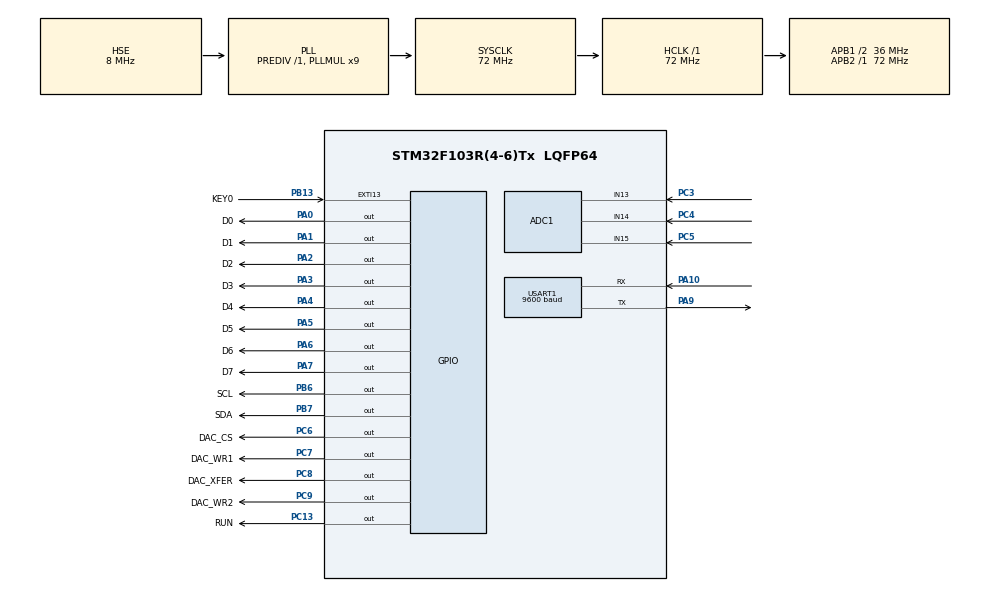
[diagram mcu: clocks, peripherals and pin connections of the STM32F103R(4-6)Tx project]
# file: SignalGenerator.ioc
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ADC1.Channel-10\#ChannelRegularConversion=ADC_CHANNEL_15
ADC1.Channel-8\#ChannelRegularConversion=ADC_CHANNEL_13
ADC1.Channel-9\#ChannelRegularConversion=ADC_CHANNEL_14
ADC1.ContinuousConvMode=ENABLE
ADC1.NbrOfConversion=3
ADC1.NbrOfConversionFlag=1
ADC1.Rank-10\#ChannelRegularConversion=3
ADC1.Rank-8\#ChannelRegularConversion=1
ADC1.Rank-9\#ChannelRegularConversion=2
ADC1.SamplingTime-10\#ChannelRegularConversion=ADC_SAMPLETIME_1CYCLE_5
ADC1.SamplingTime-8\#ChannelRegularConversion=ADC_SAMPLETIME_1CYCLE_5
ADC1.SamplingTime-9\#ChannelRegularConversion=ADC_SAMPLETIME_1CYCLE_5
ADC1.master=1
Dma.ADC1.0.Direction=DMA_PERIPH_TO_MEMORY
Dma.ADC1.0.Instance=DMA1_Channel1
Dma.ADC1.0.MemDataAlignment=DMA_MDATAALIGN_HALFWORD
Dma.ADC1.0.MemInc=DMA_MINC_ENABLE
Dma.ADC1.0.Mode=DMA_CIRCULAR
Dma.ADC1.0.PeriphDataAlignment=DMA_PDATAALIGN_HALFWORD
Dma.ADC1.0.PeriphInc=DMA_PINC_DISABLE
Dma.ADC1.0.Priority=DMA_PRIORITY_LOW
Dma.Request0=ADC1
Mcu.Family=STM32F1
Mcu.Name=STM32F103R(4-6)Tx
Mcu.Package=LQFP64
NVIC.DMA1_Channel1_IRQn=true\:0\:0\:false\:false\:true\:false\:true
NVIC.EXTI15_10_IRQn=true\:1\:0\:true\:false\:true\:true\:true
NVIC.PriorityGroup=NVIC_PRIORITYGROUP_4
NVIC.TIM2_IRQn=true\:3\:0\:true\:false\:true\:true\:true
NVIC.TIM3_IRQn=true\:3\:0\:true\:false\:true\:true\:true
PA0-WKUP.GPIO_Label=D0
PA0-WKUP.GPIO_PuPd=GPIO_PULLUP
PA0-WKUP.GPIO_Speed=GPIO_SPEED_FREQ_HIGH
PA0-WKUP.Signal=GPIO_Output
PA1.GPIO_Label=D1
PA1.GPIO_PuPd=GPIO_PULLUP
PA1.GPIO_Speed=GPIO_SPEED_FREQ_HIGH
PA1.Signal=GPIO_Output
PA10.Mode=Asynchronous
PA10.Signal=USART1_RX
PA13.Mode=Serial_Wire
PA13.Signal=SYS_JTMS-SWDIO
PA14.Mode=Serial_Wire
PA14.Signal=SYS_JTCK-SWCLK
PA2.GPIO_Label=D2
PA2.GPIO_PuPd=GPIO_PULLUP
PA2.GPIO_Speed=GPIO_SPEED_FREQ_HIGH
PA2.Signal=GPIO_Output
PA3.GPIO_Label=D3
PA3.GPIO_PuPd=GPIO_PULLUP
PA3.GPIO_Speed=GPIO_SPEED_FREQ_HIGH
PA3.Signal=GPIO_Output
PA4.GPIO_Label=D4
PA4.GPIO_PuPd=GPIO_PULLUP
PA4.GPIO_Speed=GPIO_SPEED_FREQ_HIGH
PA4.Signal=GPIO_Output
PA5.GPIO_Label=D5
PA5.GPIO_PuPd=GPIO_PULLUP
PA5.GPIO_Speed=GPIO_SPEED_FREQ_HIGH
PA5.Signal=GPIO_Output
PA6.GPIO_Label=D6
PA6.GPIO_PuPd=GPIO_PULLUP
PA6.GPIO_Speed=GPIO_SPEED_FREQ_HIGH
PA6.Signal=GPIO_Output
PA7.GPIO_Label=D7
PA7.GPIO_PuPd=GPIO_PULLUP
PA7.GPIO_Speed=GPIO_SPEED_FREQ_HIGH
PA7.Signal=GPIO_Output
PA9.Mode=Asynchronous
PA9.Signal=USART1_TX
PB13.GPIO_Label=KEY0
PB13.GPIO_ModeDefaultEXTI=GPIO_MODE_IT_FALLING
PB13.GPIO_PuPd=GPIO_PULLUP
PB13.Signal=GPXTI13
PB6.GPIO_Label=SCL
PB6.GPIO_PuPd=GPIO_PULLUP
PB6.GPIO_Speed=GPIO_SPEED_FREQ_HIGH
PB6.Signal=GPIO_Output
PB7.GPIO_Label=SDA
PB7.GPIO_PuPd=GPIO_PULLUP
PB7.GPIO_Speed=GPIO_SPEED_FREQ_HIGH
PB7.Signal=GPIO_Output
PC13-TAMPER-RTC.GPIO_Label=RUN
PC13-TAMPER-RTC.GPIO_PuPd=GPIO_PULLUP
PC13-TAMPER-RTC.GPIO_Speed=GPIO_SPEED_FREQ_HIGH
PC13-TAMPER-RTC.Signal=GPIO_Output
PC3.Signal=ADCx_IN13
PC4.Signal=ADCx_IN14
PC5.Signal=ADCx_IN15
PC6.GPIO_Label=DAC_CS
PC6.GPIO_PuPd=GPIO_PULLUP
PC6.GPIO_Speed=GPIO_SPEED_FREQ_HIGH
PC6.Signal=GPIO_Output
PC7.GPIO_Label=DAC_WR1
PC7.GPIO_PuPd=GPIO_PULLUP
PC7.GPIO_Speed=GPIO_SPEED_FREQ_HIGH
PC7.Signal=GPIO_Output
PC8.GPIO_Label=DAC_XFER
PC8.GPIO_PuPd=GPIO_PULLUP
PC8.GPIO_Speed=GPIO_SPEED_FREQ_HIGH
PC8.Signal=GPIO_Output
PC9.GPIO_Label=DAC_WR2
PC9.GPIO_PuPd=GPIO_PULLUP
PC9.GPIO_Speed=GPIO_SPEED_FREQ_HIGH
PC9.Signal=GPIO_Output
PD0-OSC_IN.Mode=HSE-External-Oscillator
PD0-OSC_IN.Signal=RCC_OSC_IN
PD1-OSC_OUT.Mode=HSE-External-Oscillator
PD1-OSC_OUT.Signal=RCC_OSC_OUT
ProjectManager.HeapSize=0x200
ProjectManager.StackSize=0x400
ProjectManager.TargetToolchain=MDK-ARM V5.27
RCC.ADCPresc=RCC_ADCPCLK2_DIV6
RCC.AHBFreq_Value=72000000
RCC.APB1CLKDivider=RCC_HCLK_DIV2
RCC.APB1Freq_Value=36000000
RCC.APB1TimFreq_Value=72000000
RCC.APB2Freq_Value=72000000
RCC.APB2TimFreq_Value=72000000
RCC.HCLKFreq_Value=72000000
RCC.PLLMUL=RCC_PLL_MUL9
RCC.PLLSourceVirtual=RCC_PLLSOURCE_HSE
RCC.SYSCLKFreq_VALUE=72000000
RCC.SYSCLKSource=RCC_SYSCLKSOURCE_PLLCLK
RCC.USBFreq_Value=72000000
SH.ADCx_IN13.0=ADC1_IN13,IN13
SH.ADCx_IN14.0=ADC1_IN14,IN14
SH.ADCx_IN15.0=ADC1_IN15,IN15
TIM2.AutoReloadPreload=TIM_AUTORELOAD_PRELOAD_ENABLE
TIM2.Period=9999
TIM2.Prescaler=71
TIM2.TIM_MasterOutputTrigger=TIM_TRGO_RESET
TIM3.AutoReloadPreload=TIM_AUTORELOAD_PRELOAD_ENABLE
TIM3.Period=9999
TIM3.Prescaler=71
USART1.BaudRate=9600
USART1.VirtualMode=VM_ASYNC
VP_TIM2_VS_ClockSourceINT.Mode=Internal
VP_TIM3_VS_ClockSourceINT.Mode=Internal
board=custom

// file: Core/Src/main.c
/* USER CODE BEGIN Header */
/**
  ******************************************************************************
  * @file           : main.c
  * @brief          : Main program body
  ******************************************************************************
  * @attention
  *
  * <h2><center>&copy; Copyright (c) 2022 STMicroelectronics.
  * All rights reserved.</center></h2>
  *
  * This software component is licensed by ST under BSD 3-Clause license,
  * the "License"; You may not use this file except in compliance with the
  * License. You may obtain a copy of the License at:
  *                        opensource.org/licenses/BSD-3-Clause
  *
  ******************************************************************************
  */
/* USER CODE END Header */
#include "main.h"
#include "adc.h"
#include "dma.h"
#include "tim.h"
#include "usart.h"
#include "gpio.h"

/* USER CODE BEGIN Includes */
#include "oled.h"
#include "dac0832.h"
#include <stdio.h>
#include <string.h>
/* USER CODE END Includes */

/* USER CODE BEGIN PD */
#define LED_RUN HAL_GPIO_TogglePin(RUN_GPIO_Port, RUN_Pin)

/* USER CODE END PD */

/* USER CODE BEGIN PM */
extern wave_info_t wave_info;
extern uint16_t ADCBuf[RecvLen][ChannelNum];
/* USER CODE END PM */

void SystemClock_Config(void);

/* USER CODE BEGIN 0 */
static void log(wave_info_t *info)
{
	  if(info->type == Sin)
	  {
		  printf("current wave: sin\r\n");
	  }
	  else if(info->type == Rect)
	  {
		  printf("current wave: rect\r\n");
	  }
	  printf("        freq: %d HZ\r\n", info->freq);
	  printf("        ampl: %d MV\r\n", (uint16_t)(info->ampl*1000));
}

/* USER CODE END 0 */

int main(void)
{

  /* MCU Configuration--------------------------------------------------------*/

  /* Reset of all peripherals, Initializes the Flash interface and the Systick. */
  HAL_Init();

  /* Configure the system clock */
  SystemClock_Config();

  /* Initialize all configured peripherals */
  MX_GPIO_Init();
  MX_DMA_Init();
  MX_TIM2_Init();
  MX_USART1_UART_Init();
  MX_ADC1_Init();
  MX_TIM3_Init();
  /* USER CODE BEGIN 2 */
	OLED_Init();	/* OLED初始化 */

	HAL_TIM_Base_Start_IT(&htim2); /* 开启定时器2 */
	HAL_ADCEx_Calibration_Start(&hadc1); /* 校准ADC */
	HAL_ADC_Start_DMA(&hadc1, (uint32_t*)ADCBuf, ChannelNum*RecvLen);
	HAL_TIM_Base_Start_IT(&htim3); /* 开启定时器2 */
  /* USER CODE END 2 */

  /* Infinite loop */
  /* USER CODE BEGIN WHILE */
  while (1)
  {
	  /* 打印波形信息 */
		log(&wave_info);

	  LED_RUN;
	  HAL_Delay(500);
    /* USER CODE END WHILE */

  }
}

void SystemClock_Config(void)
{
  RCC_OscInitTypeDef RCC_OscInitStruct = {0};
  RCC_ClkInitTypeDef RCC_ClkInitStruct = {0};
  RCC_PeriphCLKInitTypeDef PeriphClkInit = {0};

  /** Initializes the RCC Oscillators according to the specified parameters
  * in the RCC_OscInitTypeDef structure.
  */
  RCC_OscInitStruct.OscillatorType = RCC_OSCILLATORTYPE_HSE;
  RCC_OscInitStruct.HSEState = RCC_HSE_ON;
  RCC_OscInitStruct.HSEPredivValue = RCC_HSE_PREDIV_DIV1;
  RCC_OscInitStruct.HSIState = RCC_HSI_ON;
  RCC_OscInitStruct.PLL.PLLState = RCC_PLL_ON;
  RCC_OscInitStruct.PLL.PLLSource = RCC_PLLSOURCE_HSE;
  RCC_OscInitStruct.PLL.PLLMUL = RCC_PLL_MUL9;
  if (HAL_RCC_OscConfig(&RCC_OscInitStruct) != HAL_OK)
  {
    Error_Handler();
  }
  /** Initializes the CPU, AHB and APB buses clocks
  */
  RCC_ClkInitStruct.ClockType = RCC_CLOCKTYPE_HCLK|RCC_CLOCKTYPE_SYSCLK
                              |RCC_CLOCKTYPE_PCLK1|RCC_CLOCKTYPE_PCLK2;
  RCC_ClkInitStruct.SYSCLKSource = RCC_SYSCLKSOURCE_PLLCLK;
  RCC_ClkInitStruct.AHBCLKDivider = RCC_SYSCLK_DIV1;
  RCC_ClkInitStruct.APB1CLKDivider = RCC_HCLK_DIV2;
  RCC_ClkInitStruct.APB2CLKDivider = RCC_HCLK_DIV1;

  if (HAL_RCC_ClockConfig(&RCC_ClkInitStruct, FLASH_LATENCY_2) != HAL_OK)
  {
    Error_Handler();
  }
  PeriphClkInit.PeriphClockSelection = RCC_PERIPHCLK_ADC;
  PeriphClkInit.AdcClockSelection = RCC_ADCPCLK2_DIV6;
  if (HAL_RCCEx_PeriphCLKConfig(&PeriphClkInit) != HAL_OK)
  {
    Error_Handler();
  }
}

void Error_Handler(void)
{
  __disable_irq();
  while (1)
  {
  }
}

/************************ (C) COPYRIGHT STMicroelectronics *****END OF FILE****/
